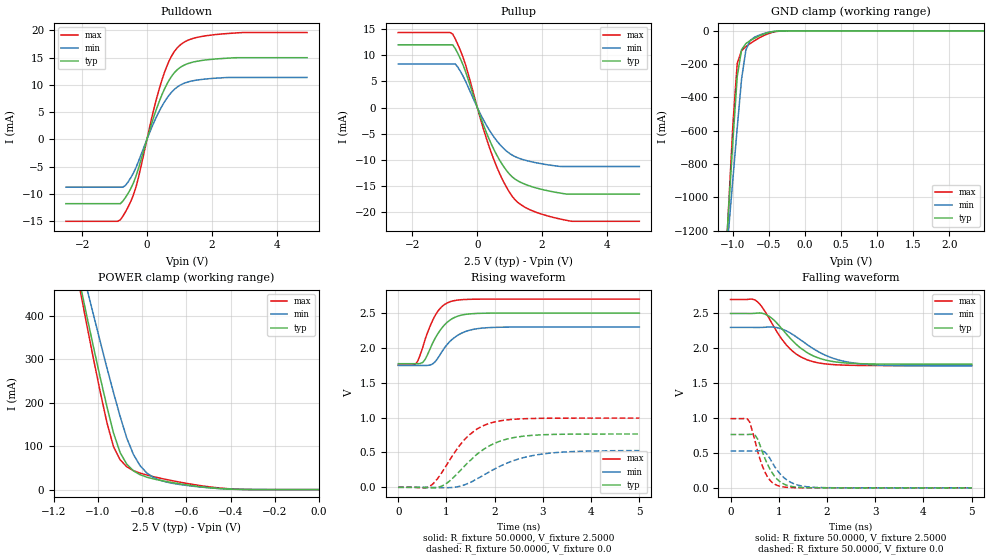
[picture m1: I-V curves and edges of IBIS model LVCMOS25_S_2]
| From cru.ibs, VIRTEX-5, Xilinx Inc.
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|   Model LVCMOS25_S_2
[Model]  LVCMOS25_S_2
Model_type I/O
Polarity   Non-Inverting
Enable   Active-Low
Vinl = 0.65
Vinh = 1.85
Vmeas =  0.9000V
Cref =   0.0F
Rref =   1.0000M
Vref =   0.0V
C_comp   6.0000pF   6.0000pF   6.0000pF
[Model Spec]
Vinl   0.65   0.6   0.7
Vinh   1.85   1.7   2.0
[Temperature Range]   25.0000   85.0000   0.0
[Voltage Range]   2.5000V   2.3000V   2.7000V
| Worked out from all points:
|   slope of the pulldown table from 0 to 0.375 V, typ, clamps not added: 54.6 ohm
|   slope of the pullup table from 0 to 0.375 V, typ, clamps not added: 60.4 ohm
|   GND clamp passes 1 mA (typ) near -0.35 V on its own axis
|   POWER clamp passes 1 mA (typ) near -0.40 V on its own axis
|   rising waveform, R_fixture 50.0000, V_fixture 2.5000: 20-80 % time 378ps typ, 428ps min, 330ps max; typ from 1.77 V to 2.5 V
|   rising waveform, R_fixture 50.0000, V_fixture 0.0: 20-80 % time 775ps typ, 983ps min, 658ps max; typ from 0 V to 0.764 V
|   falling waveform, R_fixture 50.0000, V_fixture 2.5000: 20-80 % time 670ps typ, 814ps min, 586ps max; typ from 2.5 V to 1.77 V
|   falling waveform, R_fixture 50.0000, V_fixture 0.0: 20-80 % time 319ps typ, 370ps min, 274ps max; typ from 0.765 V to 0 V
[Pulldown]
|Voltage   I(typ)   I(min)   I(max)
-2.5V     -11.77mA   -8.75mA    -15mA
-900mV    -11.77mA   -8.75mA    -15mA
-740mV    -11.29mA   -8.75mA    -14.05mA
-500mV    -9.025mA   -7.041mA   -11.38mA
-340mV    -6.789mA   -5.191mA   -8.789mA
220mV     4.272mA    3.176mA    5.705mA
460mV     8.139mA    6.053mA    10.83mA
700mV     11.02mA    8.229mA    14.58mA
1.02V     13.17mA    9.929mA    17.27mA
1.42V     14.17mA    10.75mA    18.5mA
2.14V     14.75mA    11.23mA    19.23mA
4.94V     14.98mA    11.36mA    19.58mA
[Pullup]
|Voltage   I(typ)   I(min)   I(max)
-2.44V    12.04mA    8.36mA     14.39mA
-760mV    12.04mA    8.36mA     14.11mA
-600mV    10.38mA    7.745mA    12.11mA
-360mV    6.856mA    5.02mA     8.161mA
200mV     -3.526mA   -2.494mA   -4.34mA
520mV     -8.159mA   -5.724mA   -10.15mA
920mV     -12.24mA   -8.457mA   -15.51mA
1.16V     -13.72mA   -9.408mA   -17.68mA
1.32V     -14.31mA   -9.811mA   -18.55mA
1.96V     -15.67mA   -10.77mA   -20.42mA
2.92V     -16.62mA   -11.32mA   -21.84mA
5V        -16.62mA   -11.32mA   -21.84mA
[GND_clamp]
|Voltage   I(typ)   I(min)   I(max)
-2.5V     -11.29A    -8.704A    -13.53A
-1.12V    -1.497A    -1.51A     -1.57A
-1.06V    -1.075A    -1.198A    -1.059A
-1V       -662mA     -888.5mA   -563.2mA
-940mV    -273.6mA   -582.9mA   -195.1mA
-880mV    -113.7mA   -290.3mA   -119.7mA
-820mV    -76.4mA    -115.2mA   -95.07mA
-760mV    -58.66mA   -58.46mA   -76.31mA
-700mV    -44.35mA   -38.35mA   -59.24mA
-520mV    -12.14mA   -10.32mA   -18.61mA
-340mV    -602.1uA   -638.4uA   -1.401mA
2.48V     19.95nA    6.298uA    40.3nA
[POWER_clamp]
|Voltage   I(typ)   I(min)   I(max)
-2.49V    3.897A     3.398A     4.279A
-1.08V    470.7mA    523.2mA    456.9mA
-1.05V    398.2mA    462.2mA    377.2mA
-1.02V    327.1mA    401.4mA    299.7mA
-960mV    191.8mA    281.1mA    154.7mA
-930mV    130.6mA    223.5mA    98.93mA
-900mV    85.26mA    168.6mA    68.69mA
-840mV    43.25mA    81.1mA     43.8mA
-780mV    28.81mA    38.65mA    33.69mA
-690mV    18.53mA    17.37mA    23.2mA
-540mV    6.864mA    6.149mA    9.448mA
0V        21.48nA    108.1nA    47.01nA
[Ramp]
| variable   typ   min   max
dV/dt_r  0.4587/0.7746n   0.3161/0.9820n   0.5953/0.6545n
dV/dt_f  0.4362/0.6685n   0.3312/0.8142n   0.5682/0.5847n
R_load = 50.0000
[Rising Waveform]
R_fixture= 50.0000
V_fixture= 2.5000
V_fixture_min= 2.3000
V_fixture_max= 2.7000
|time   V(typ)   V(min)   V(max)
0s        1.773V     1.748V     1.753V
300ps     1.773V     1.748V     1.753V
400ps     1.773V     1.748V     1.804V
560ps     1.837V     1.748V     2.128V
760ps     2.131V     1.797V     2.457V
910ps     2.289V     1.949V     2.595V
1.11ns    2.415V     2.117V     2.669V
1.41ns    2.481V     2.238V     2.695V
1.82ns    2.497V     2.288V     2.699V
5ns       2.499V     2.299V     2.699V
[Rising Waveform]
R_fixture= 50.0000
V_fixture= 0.0
|time   V(typ)   V(min)   V(max)
0s        0V         1.394uV    0V
660ps     -7.247mV   -721.3uV   17.64mV
960ps     37.3mV     -6.442mV   272.2mV
1.21ns    185.4mV    5.148mV    541.2mV
1.41ns    329.8mV    45.17mV    709.3mV
1.67ns    494.4mV    135.3mV    850.4mV
1.92ns    605.3mV    233.3mV    923mV
2.37ns    709.7mV    377.5mV    974.3mV
2.98ns    753mV      476.6mV    989.7mV
5ns       764.5mV    526.7mV    992.1mV
[Falling Waveform]
R_fixture= 50.0000
V_fixture= 2.5000
V_fixture_min= 2.3000
V_fixture_max= 2.7000
|time   V(typ)   V(min)   V(max)
0s        2.5V       2.3V       2.7V
510ps     2.502V     2.299V     2.692V
660ps     2.502V     2.3V       2.586V
810ps     2.455V     2.307V     2.417V
1.21ns    2.164V     2.231V     2.009V
1.46ns    2V         2.117V     1.876V
1.72ns    1.89V      1.993V     1.807V
2.17ns    1.806V     1.848V     1.765V
2.68ns    1.78V      1.779V     1.755V
5ns       1.773V     1.748V     1.753V
[Falling Waveform]
R_fixture= 50.0000
V_fixture= 0.0
|time   V(typ)   V(min)   V(max)
0s        764.7mV    527.6mV    992.3mV
350ps     764.6mV    527.6mV    989.3mV
400ps     766.4mV    527.6mV    939mV
510ps     753.3mV    527.9mV    666mV
710ps     425mV      513.2mV    230.8mV
860ps     219.1mV    367.8mV    79.66mV
1.01ns    96.5mV     214.6mV    25.3mV
1.31ns    15.55mV    59.34mV    2.911mV
1.67ns    2.008mV    10.75mV    284.8uV
5ns       63.62uV    196.6uV    33.01uV
